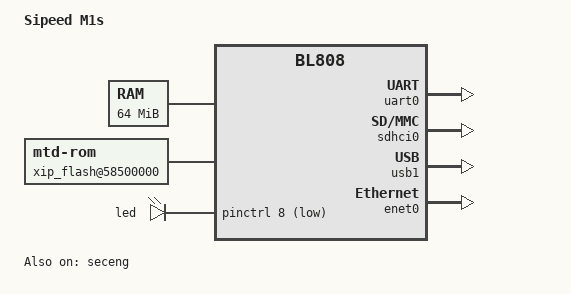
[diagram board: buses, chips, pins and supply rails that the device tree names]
// SPDX-License-Identifier: (GPL-2.0+ or MIT)
/*
 * Copyright (C) 2022 Jisheng Zhang <jszhang@kernel.org>
 */

/dts-v1/;

#include "bl808.dtsi"
#include <dt-bindings/gpio/gpio.h>
#include <dt-bindings/leds/common.h>

/ {
	model = "Sipeed M1s";
	compatible = "sipeed,m1s", "bflb,bl808";

	aliases {
		serial0 = &uart0;
	};

	chosen {
		stdout-path = "serial0:2000000n8";
		bootargs = "console=ttyS0,2000000 loglevel=8 earlycon=sbi root=/dev/mmcblk0p2 rootwait rootfstype=ext4";
		linux,initrd-start = <0x0 0x52000000>;
		linux,initrd-end = <0x0 0x52941784>;
	};

	memory@50000000 {
		device_type = "memory";
		reg = <0x50000000 0x04000000>;
	};

	xip_flash@58500000 {
		compatible = "mtd-rom";
		reg = <0x58500000 0x400000>;
		linux,mtd-name = "xip-flash.0";
		erase-size = <0x10000>;
		bank-width = <4>;
		#address-cells = <1>;
		#size-cells = <1>;
	};

	leds {
        compatible = "gpio-leds";
		
        led {
            gpios = <&pinctrl 8 GPIO_ACTIVE_LOW>;
        };
    };
};

&pinctrl {
	status = "okay";

	led {
		pins = "GPIO8";
		function = "gpio";
	};
};

&seceng {
	status = "okay";
};

&uart0 {
	status = "okay";
};

&sdhci0 {
	status = "okay";
};

&ipclic {
	status = "okay";
};

&usb1 {
	status = "okay";
};

&enet0 {
	status = "okay";
};
